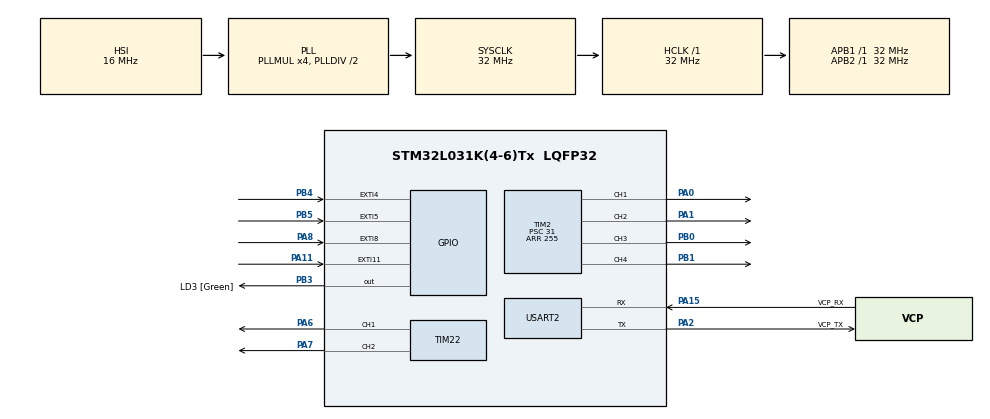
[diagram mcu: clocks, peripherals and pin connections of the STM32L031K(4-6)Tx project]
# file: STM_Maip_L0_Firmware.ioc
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Mcu.Family=STM32L0
Mcu.Name=STM32L031K(4-6)Tx
Mcu.Package=LQFP32
NVIC.EXTI4_15_IRQn=true\:0\:0\:false\:false\:true\:true\:true\:true
NVIC.USART2_IRQn=true\:0\:0\:false\:false\:true\:true\:true\:true
PA0-CK_IN.Signal=S_TIM2_CH1
PA1.Signal=S_TIM2_CH2
PA11.GPIO_ModeDefaultEXTI=GPIO_MODE_IT_RISING_FALLING
PA11.Signal=GPXTI11
PA13.GPIO_Label=TMS
PA13.Signal=SYS_SWDIO
PA14.GPIO_Label=TCK
PA14.Signal=SYS_SWCLK
PA15.GPIO_Label=VCP_RX
PA15.Mode=Asynchronous
PA15.Signal=USART2_RX
PA2.GPIO_Label=VCP_TX
PA2.Mode=Asynchronous
PA2.Signal=USART2_TX
PA6.Signal=S_TIM22_CH1
PA7.Signal=S_TIM22_CH2
PA8.GPIO_ModeDefaultEXTI=GPIO_MODE_IT_RISING_FALLING
PA8.Signal=GPXTI8
PB0.Signal=S_TIM2_CH3
PB1.Signal=S_TIM2_CH4
PB3.GPIO_Label=LD3 [Green]
PB3.Signal=GPIO_Output
PB4.GPIO_ModeDefaultEXTI=GPIO_MODE_IT_RISING_FALLING
PB4.Signal=GPXTI4
PB5.GPIO_ModeDefaultEXTI=GPIO_MODE_IT_RISING_FALLING
PB5.Signal=GPXTI5
PC14-OSC32_IN.Signal=RCC_OSC32_IN
PC15-OSC32_OUT.Signal=RCC_OSC32_OUT
ProjectManager.HeapSize=0x200
ProjectManager.StackSize=0x400
ProjectManager.TargetToolchain=STM32CubeIDE
RCC.AHBFreq_Value=32000000
RCC.APB1Freq_Value=32000000
RCC.APB1TimFreq_Value=32000000
RCC.APB2Freq_Value=32000000
RCC.APB2TimFreq_Value=32000000
RCC.HCLKFreq_Value=32000000
RCC.HSE_VALUE=8000000
RCC.HSI16_VALUE=16000000
RCC.HSI48_VALUE=48000000
RCC.HSI_VALUE=16000000
RCC.LSE_VALUE=32768
RCC.MSI_VALUE=2097000
RCC.PLLMUL=RCC_PLLMUL_4
RCC.SYSCLKFreq_VALUE=32000000
RCC.SYSCLKSource=RCC_SYSCLKSOURCE_PLLCLK
RCC.VCOOutputFreq_Value=64000000
SH.S_TIM22_CH1.0=TIM22_CH1,PWM Generation1 CH1
SH.S_TIM22_CH2.0=TIM22_CH2,PWM Generation2 CH2
SH.S_TIM2_CH1.0=TIM2_CH1,PWM Generation1 CH1
SH.S_TIM2_CH2.0=TIM2_CH2,PWM Generation2 CH2
SH.S_TIM2_CH3.0=TIM2_CH3,PWM Generation3 CH3
SH.S_TIM2_CH4.0=TIM2_CH4,PWM Generation4 CH4
TIM2.AutoReloadPreload=TIM_AUTORELOAD_PRELOAD_ENABLE
TIM2.Channel-PWM\ Generation1\ CH1=TIM_CHANNEL_1
TIM2.Channel-PWM\ Generation2\ CH2=TIM_CHANNEL_2
TIM2.Channel-PWM\ Generation3\ CH3=TIM_CHANNEL_3
TIM2.Channel-PWM\ Generation4\ CH4=TIM_CHANNEL_4
TIM2.Period=255
TIM2.Prescaler=31
TIM22.Channel-PWM\ Generation1\ CH1=TIM_CHANNEL_1
TIM22.Channel-PWM\ Generation2\ CH2=TIM_CHANNEL_2
USART2.VirtualMode-Asynchronous=VM_ASYNC
VP_TIM2_VS_ClockSourceINT.Mode=Internal
board=NUCLEO-L031K6

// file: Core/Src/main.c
/* USER CODE BEGIN Header */
/**
  ******************************************************************************
  * @file           : main.c
  * @brief          : Main program body
  ******************************************************************************
  * @attention
  *
  * Copyright (c) 2025 STMicroelectronics.
  * All rights reserved.
  *
  * This software is licensed under terms that can be found in the LICENSE file
  * in the root directory of this software component.
  * If no LICENSE file comes with this software, it is provided AS-IS.
  *
  ******************************************************************************
  */
/* USER CODE END Header */
#include "main.h"

/* USER CODE BEGIN Includes */

#include <string.h>
#include <stdbool.h>

/* USER CODE END Includes */

/* USER CODE BEGIN PD */

#define RX_BUFFER_SIZE 64

/* USER CODE END PD */

TIM_HandleTypeDef htim2;
TIM_HandleTypeDef htim22;

UART_HandleTypeDef huart2;

/* USER CODE BEGIN PV */

bool limit_switch_state[4] = {false, false, false, false};
int16_t motorsPWM[3] = {-100, -100, -100};

// UART buffers e flags
static uint8_t rx_byte;
static uint8_t rx_buffer[RX_BUFFER_SIZE];
static volatile uint8_t rx_index = 0;
static volatile bool message_ready = false;

/* USER CODE END PV */

void SystemClock_Config(void);
static void MX_GPIO_Init(void);
static void MX_TIM2_Init(void);
static void MX_TIM22_Init(void);
static void MX_USART2_UART_Init(void);
/* USER CODE BEGIN PFP */

//void My_UART_Start_Receive_IT(void);
//bool UART_MessageReady(void);
//char *UART_GetMessage(void);
void processCommand(const char *cmd);
void computeMotors();

/* USER CODE END PFP */

/* USER CODE BEGIN 0 */

//void My_UART_Start_Receive_IT(void)
//{
//	rx_index = 0;
//	message_ready = false;
//	HAL_UART_Receive_IT(&huart2, &rx_byte, 1);
//}
//
//bool UART_MessageReady(void)
//{
//	return message_ready;
//}
//
//char *UART_GetMessage(void)
//{
//	message_ready = false;
//	return (char *)rx_buffer;
//}
//
//void HAL_UART_RxCpltCallback(UART_HandleTypeDef *huart)
//{
//	if (huart->Instance == USART2)
//	{
//		if (!message_ready)
//		{
//			if (rx_byte == '\n')
//			{
//				rx_buffer[rx_index] = '\0';
//				message_ready = true;
//				rx_index = 0;
//			}
//			else
//			{
//				rx_buffer[rx_index++] = rx_byte;
//				if (rx_index >= RX_BUFFER_SIZE)
//					rx_index = 0;
//			}
//		}
//
//		HAL_UART_Receive_IT(&huart2, &rx_byte, 1);
//	}
//}

void processCommand(const char *cmd)
{
	HAL_GPIO_TogglePin(LD3_GPIO_Port, LD3_Pin);

//	if(cmd[0] == 'm'){
//		char *token = strtok(cmd, " ");
//		char _ = token[0];
//		for (int i = 0; i < 3; i++) {
//		   token = strtok(NULL, " ");
//		   motorsPWM[i] = (int16_t)atoi(token);
//		}
//	}
}

void computeMotors(){
	int pwm_positive = motorsPWM[0];
	int pwm_negative = 0;
	if(pwm_positive < 0)
	{
		pwm_positive = 0;
		pwm_negative = abs(motorsPWM[0]);
	}

	if(pwm_positive > 255) pwm_positive = 255;
	if(pwm_negative > 255) pwm_negative = 255;

	TIM2->CCR1 = pwm_positive;
	TIM2->CCR2 = pwm_negative;

	pwm_positive = motorsPWM[1];
	pwm_negative = 0;
	if(pwm_positive < 0)
	{
		pwm_positive = 0;
		pwm_negative = abs(motorsPWM[1]);
	}

	if(pwm_positive > 255) pwm_positive = 255;
	if(pwm_negative > 255) pwm_negative = 255;

	TIM2->CCR3 = pwm_positive;
	TIM2->CCR4 = pwm_negative;

	pwm_positive = motorsPWM[2];
	pwm_negative = 0;
	if(pwm_positive < 0)
	{
		pwm_positive = 0;
		pwm_negative = abs(motorsPWM[2]);
	}

	if(pwm_positive > 255) pwm_positive = 255;
	if(pwm_negative > 255) pwm_negative = 255;

	TIM22->CCR1 = pwm_positive;
	TIM22->CCR2 = pwm_negative;
}

/* USER CODE END 0 */

int main(void)
{

  /* MCU Configuration--------------------------------------------------------*/

  /* Reset of all peripherals, Initializes the Flash interface and the Systick. */
  HAL_Init();

  /* Configure the system clock */
  SystemClock_Config();

  /* Initialize all configured peripherals */
  MX_GPIO_Init();
  MX_TIM2_Init();
  MX_TIM22_Init();
  MX_USART2_UART_Init();
  /* USER CODE BEGIN 2 */

//  My_UART_Start_Receive_IT();

  /* USER CODE END 2 */

  /* Infinite loop */
  while (1)
  {

    /* USER CODE BEGIN 3 */
	computeMotors();
  }
  /* USER CODE END 3 */
}

void SystemClock_Config(void)
{
  RCC_OscInitTypeDef RCC_OscInitStruct = {0};
  RCC_ClkInitTypeDef RCC_ClkInitStruct = {0};
  RCC_PeriphCLKInitTypeDef PeriphClkInit = {0};

  /** Configure the main internal regulator output voltage
  */
  __HAL_PWR_VOLTAGESCALING_CONFIG(PWR_REGULATOR_VOLTAGE_SCALE1);

  /** Initializes the RCC Oscillators according to the specified parameters
  * in the RCC_OscInitTypeDef structure.
  */
  RCC_OscInitStruct.OscillatorType = RCC_OSCILLATORTYPE_HSI;
  RCC_OscInitStruct.HSIState = RCC_HSI_ON;
  RCC_OscInitStruct.HSICalibrationValue = RCC_HSICALIBRATION_DEFAULT;
  RCC_OscInitStruct.PLL.PLLState = RCC_PLL_ON;
  RCC_OscInitStruct.PLL.PLLSource = RCC_PLLSOURCE_HSI;
  RCC_OscInitStruct.PLL.PLLMUL = RCC_PLLMUL_4;
  RCC_OscInitStruct.PLL.PLLDIV = RCC_PLLDIV_2;
  if (HAL_RCC_OscConfig(&RCC_OscInitStruct) != HAL_OK)
  {
    Error_Handler();
  }

  /** Initializes the CPU, AHB and APB buses clocks
  */
  RCC_ClkInitStruct.ClockType = RCC_CLOCKTYPE_HCLK|RCC_CLOCKTYPE_SYSCLK
                              |RCC_CLOCKTYPE_PCLK1|RCC_CLOCKTYPE_PCLK2;
  RCC_ClkInitStruct.SYSCLKSource = RCC_SYSCLKSOURCE_PLLCLK;
  RCC_ClkInitStruct.AHBCLKDivider = RCC_SYSCLK_DIV1;
  RCC_ClkInitStruct.APB1CLKDivider = RCC_HCLK_DIV1;
  RCC_ClkInitStruct.APB2CLKDivider = RCC_HCLK_DIV1;

  if (HAL_RCC_ClockConfig(&RCC_ClkInitStruct, FLASH_LATENCY_1) != HAL_OK)
  {
    Error_Handler();
  }
  PeriphClkInit.PeriphClockSelection = RCC_PERIPHCLK_USART2;
  PeriphClkInit.Usart2ClockSelection = RCC_USART2CLKSOURCE_PCLK1;
  if (HAL_RCCEx_PeriphCLKConfig(&PeriphClkInit) != HAL_OK)
  {
    Error_Handler();
  }
}

static void MX_TIM2_Init(void)
{

  TIM_ClockConfigTypeDef sClockSourceConfig = {0};
  TIM_MasterConfigTypeDef sMasterConfig = {0};
  TIM_OC_InitTypeDef sConfigOC = {0};

  htim2.Instance = TIM2;
  htim2.Init.Prescaler = 31;
  htim2.Init.CounterMode = TIM_COUNTERMODE_UP;
  htim2.Init.Period = 255;
  htim2.Init.ClockDivision = TIM_CLOCKDIVISION_DIV1;
  htim2.Init.AutoReloadPreload = TIM_AUTORELOAD_PRELOAD_ENABLE;
  if (HAL_TIM_Base_Init(&htim2) != HAL_OK)
  {
    Error_Handler();
  }
  sClockSourceConfig.ClockSource = TIM_CLOCKSOURCE_INTERNAL;
  if (HAL_TIM_ConfigClockSource(&htim2, &sClockSourceConfig) != HAL_OK)
  {
    Error_Handler();
  }
  if (HAL_TIM_PWM_Init(&htim2) != HAL_OK)
  {
    Error_Handler();
  }
  sMasterConfig.MasterOutputTrigger = TIM_TRGO_RESET;
  sMasterConfig.MasterSlaveMode = TIM_MASTERSLAVEMODE_DISABLE;
  if (HAL_TIMEx_MasterConfigSynchronization(&htim2, &sMasterConfig) != HAL_OK)
  {
    Error_Handler();
  }
  sConfigOC.OCMode = TIM_OCMODE_PWM1;
  sConfigOC.Pulse = 0;
  sConfigOC.OCPolarity = TIM_OCPOLARITY_HIGH;
  sConfigOC.OCFastMode = TIM_OCFAST_DISABLE;
  if (HAL_TIM_PWM_ConfigChannel(&htim2, &sConfigOC, TIM_CHANNEL_1) != HAL_OK)
  {
    Error_Handler();
  }
  if (HAL_TIM_PWM_ConfigChannel(&htim2, &sConfigOC, TIM_CHANNEL_2) != HAL_OK)
  {
    Error_Handler();
  }
  if (HAL_TIM_PWM_ConfigChannel(&htim2, &sConfigOC, TIM_CHANNEL_3) != HAL_OK)
  {
    Error_Handler();
  }
  if (HAL_TIM_PWM_ConfigChannel(&htim2, &sConfigOC, TIM_CHANNEL_4) != HAL_OK)
  {
    Error_Handler();
  }
  /* USER CODE BEGIN TIM2_Init 2 */

  HAL_TIM_PWM_Start(&htim2, TIM_CHANNEL_1);
  HAL_TIM_PWM_Start(&htim2, TIM_CHANNEL_2);
  HAL_TIM_PWM_Start(&htim2, TIM_CHANNEL_3);
  HAL_TIM_PWM_Start(&htim2, TIM_CHANNEL_4);

  /* USER CODE END TIM2_Init 2 */
  HAL_TIM_MspPostInit(&htim2);

}

static void MX_TIM22_Init(void)
{

  TIM_MasterConfigTypeDef sMasterConfig = {0};
  TIM_OC_InitTypeDef sConfigOC = {0};

  htim22.Instance = TIM22;
  htim22.Init.Prescaler = 0;
  htim22.Init.CounterMode = TIM_COUNTERMODE_UP;
  htim22.Init.Period = 65535;
  htim22.Init.ClockDivision = TIM_CLOCKDIVISION_DIV1;
  htim22.Init.AutoReloadPreload = TIM_AUTORELOAD_PRELOAD_DISABLE;
  if (HAL_TIM_PWM_Init(&htim22) != HAL_OK)
  {
    Error_Handler();
  }
  sMasterConfig.MasterOutputTrigger = TIM_TRGO_RESET;
  sMasterConfig.MasterSlaveMode = TIM_MASTERSLAVEMODE_DISABLE;
  if (HAL_TIMEx_MasterConfigSynchronization(&htim22, &sMasterConfig) != HAL_OK)
  {
    Error_Handler();
  }
  sConfigOC.OCMode = TIM_OCMODE_PWM1;
  sConfigOC.Pulse = 0;
  sConfigOC.OCPolarity = TIM_OCPOLARITY_HIGH;
  sConfigOC.OCFastMode = TIM_OCFAST_DISABLE;
  if (HAL_TIM_PWM_ConfigChannel(&htim22, &sConfigOC, TIM_CHANNEL_1) != HAL_OK)
  {
    Error_Handler();
  }
  if (HAL_TIM_PWM_ConfigChannel(&htim22, &sConfigOC, TIM_CHANNEL_2) != HAL_OK)
  {
    Error_Handler();
  }
  /* USER CODE BEGIN TIM22_Init 2 */

  HAL_TIM_PWM_Start(&htim22, TIM_CHANNEL_1);
  HAL_TIM_PWM_Start(&htim22, TIM_CHANNEL_2);

  /* USER CODE END TIM22_Init 2 */
  HAL_TIM_MspPostInit(&htim22);

}

static void MX_USART2_UART_Init(void)
{

  huart2.Instance = USART2;
  huart2.Init.BaudRate = 115200;
  huart2.Init.WordLength = UART_WORDLENGTH_8B;
  huart2.Init.StopBits = UART_STOPBITS_1;
  huart2.Init.Parity = UART_PARITY_NONE;
  huart2.Init.Mode = UART_MODE_TX_RX;
  huart2.Init.HwFlowCtl = UART_HWCONTROL_NONE;
  huart2.Init.OverSampling = UART_OVERSAMPLING_16;
  huart2.Init.OneBitSampling = UART_ONE_BIT_SAMPLE_DISABLE;
  huart2.AdvancedInit.AdvFeatureInit = UART_ADVFEATURE_NO_INIT;
  if (HAL_UART_Init(&huart2) != HAL_OK)
  {
    Error_Handler();
  }

}

static void MX_GPIO_Init(void)
{
  GPIO_InitTypeDef GPIO_InitStruct = {0};

  /* GPIO Ports Clock Enable */
  __HAL_RCC_GPIOC_CLK_ENABLE();
  __HAL_RCC_GPIOA_CLK_ENABLE();
  __HAL_RCC_GPIOB_CLK_ENABLE();

  /*Configure GPIO pin Output Level */
  HAL_GPIO_WritePin(LD3_GPIO_Port, LD3_Pin, GPIO_PIN_RESET);

  /*Configure GPIO pins : PA8 PA11 */
  GPIO_InitStruct.Pin = GPIO_PIN_8|GPIO_PIN_11;
  GPIO_InitStruct.Mode = GPIO_MODE_IT_RISING_FALLING;
  GPIO_InitStruct.Pull = GPIO_NOPULL;
  HAL_GPIO_Init(GPIOA, &GPIO_InitStruct);

  /*Configure GPIO pin : LD3_Pin */
  GPIO_InitStruct.Pin = LD3_Pin;
  GPIO_InitStruct.Mode = GPIO_MODE_OUTPUT_PP;
  GPIO_InitStruct.Pull = GPIO_NOPULL;
  GPIO_InitStruct.Speed = GPIO_SPEED_FREQ_LOW;
  HAL_GPIO_Init(LD3_GPIO_Port, &GPIO_InitStruct);

  /*Configure GPIO pins : PB4 PB5 */
  GPIO_InitStruct.Pin = GPIO_PIN_4|GPIO_PIN_5;
  GPIO_InitStruct.Mode = GPIO_MODE_IT_RISING_FALLING;
  GPIO_InitStruct.Pull = GPIO_NOPULL;
  HAL_GPIO_Init(GPIOB, &GPIO_InitStruct);

  /* EXTI interrupt init*/
  HAL_NVIC_SetPriority(EXTI4_15_IRQn, 0, 0);
  HAL_NVIC_EnableIRQ(EXTI4_15_IRQn);

/* USER CODE BEGIN MX_GPIO_Init_2 */
      limit_switch_state[0] = (HAL_GPIO_ReadPin(GPIOB, GPIO_PIN_4) == GPIO_PIN_RESET);
      limit_switch_state[1] = (HAL_GPIO_ReadPin(GPIOB, GPIO_PIN_5) == GPIO_PIN_RESET);
      limit_switch_state[2] = (HAL_GPIO_ReadPin(GPIOA, GPIO_PIN_8) == GPIO_PIN_RESET);
      limit_switch_state[3] = (HAL_GPIO_ReadPin(GPIOA, GPIO_PIN_11) == GPIO_PIN_RESET);
/* USER CODE END MX_GPIO_Init_2 */
}

/* USER CODE BEGIN 4 */

void HAL_GPIO_EXTI_Callback(uint16_t GPIO_Pin)
{
    switch (GPIO_Pin)
    {
        case GPIO_PIN_4:
            limit_switch_state[0] = (HAL_GPIO_ReadPin(GPIOB, GPIO_PIN_4) == GPIO_PIN_RESET);
            break;

        case GPIO_PIN_5:
            limit_switch_state[1] = (HAL_GPIO_ReadPin(GPIOB, GPIO_PIN_5) == GPIO_PIN_RESET);
            break;

        case GPIO_PIN_8:
            limit_switch_state[2] = (HAL_GPIO_ReadPin(GPIOA, GPIO_PIN_8) == GPIO_PIN_RESET);
            break;

        case GPIO_PIN_11:
            limit_switch_state[3] = (HAL_GPIO_ReadPin(GPIOA, GPIO_PIN_11) == GPIO_PIN_RESET);
            break;
    }
}

/* USER CODE END 4 */

void Error_Handler(void)
{
  __disable_irq();
  while (1)
  {
  }
}
